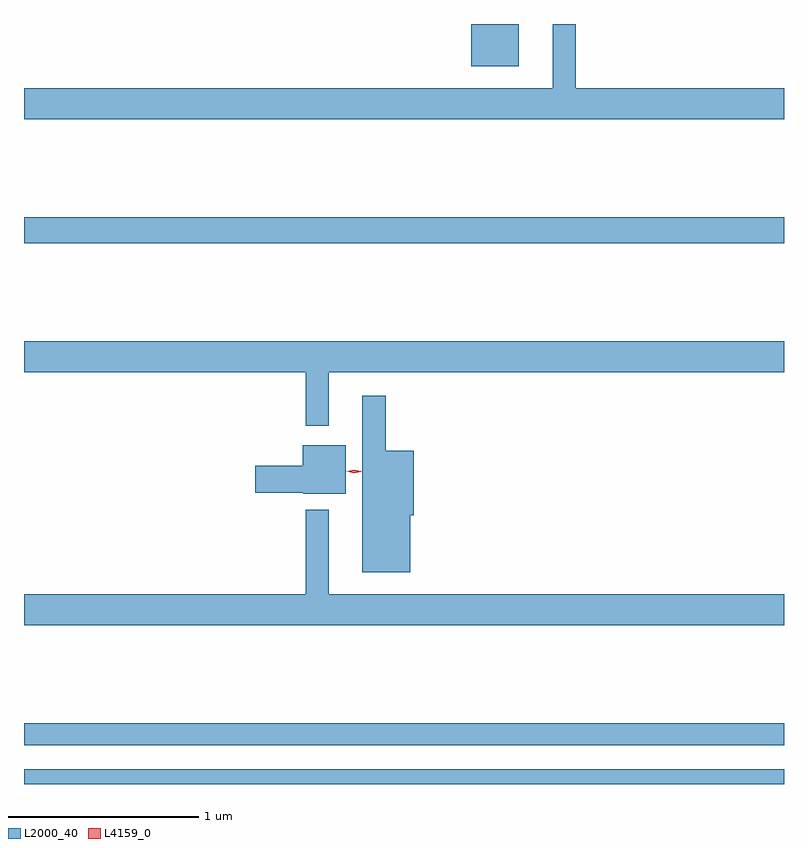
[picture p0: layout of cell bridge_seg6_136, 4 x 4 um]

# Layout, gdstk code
import gdstk
lib = gdstk.Library(unit=1e-6, precision=1e-09)
def R(c, l, rs):  # rectangles x0, y0, x1, y1
    for r in rs: c.add(gdstk.rectangle(r[:2], r[2:], *l))
def P(c, l, *ps):  # polygons
    for p in ps: c.add(gdstk.Polygon(p, *l))
L2000_40 = (2000, 40)
L4159_0 = (4159, 0)

bridge_seg6_136 = lib.new_cell('bridge_seg6_136')
R(bridge_seg6_136, L2000_40, [(554.616,955.825,558.616,955.902), (554.616,956.028,558.616,956.144), (554.616,958.672,558.616,958.808), (556.97,959.603,557.221,959.825)])
P(bridge_seg6_136, L2000_40, [(558.616,959.488),(557.521,959.488),(557.521,959.825),(557.399,959.825),(557.399,959.488),(554.616,959.488),(554.616,959.324),(558.616,959.324)],
  [(556.219,957.992),(558.616,957.992),(558.616,958.156),(554.616,958.156),(554.616,957.992),(556.098,957.992),(556.098,957.711),(556.219,957.711)],
  [(556.648,957.24),(556.666,957.24),(556.666,957.58),(556.519,957.58),(556.519,957.868),(556.397,957.868),(556.397,956.939),(556.648,956.939)],
  [(556.309,957.607),(556.082,957.607),(556.082,957.501),(555.834,957.501),(555.834,957.359),(556.086,957.359),(556.086,957.353),(556.309,957.353)],
  [(558.616,956.824),(556.219,956.824),(556.219,957.268),(556.098,957.268),(556.098,956.824),(554.616,956.824),(554.616,956.66),(558.616,956.66)])
P(bridge_seg6_136, L4159_0, [(556.352,957.46),(556.315,957.47),(556.315,957.47),(556.315,957.47),(556.353,957.48),(556.39,957.47),(556.39,957.47),(556.39,957.469)])

lib.write_gds('bridge_seg6_136.gds')
